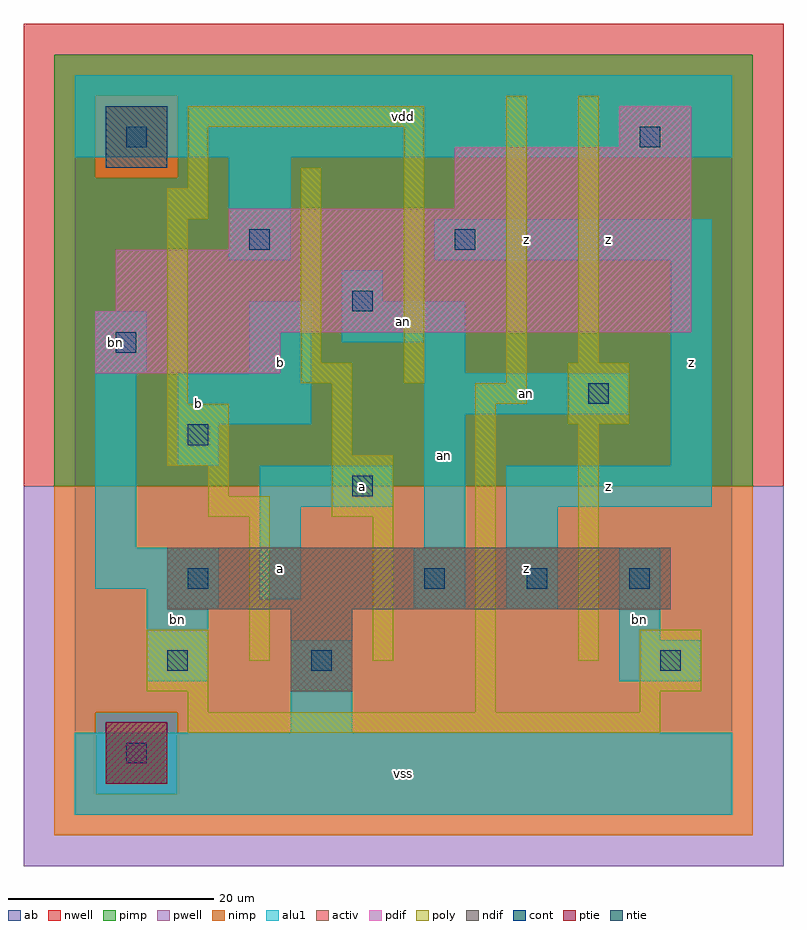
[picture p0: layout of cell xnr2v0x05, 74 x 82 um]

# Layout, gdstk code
import gdstk
lib = gdstk.Library(unit=1e-6, precision=1e-09)
def R(c, l, rs):  # rectangles x0, y0, x1, y1
    for r in rs: c.add(gdstk.rectangle(r[:2], r[2:], *l))
def A(c, l, x, y, w, h, nx, ny, dx, dy):  # array of equal rectangles
    R(c, l, [(x+i*dx, y+j*dy, x+i*dx+w, y+j*dy+h) for i in range(nx) for j in range(ny)])
ndif = (3, 0)
pdif = (4, 0)
ntie = (5, 0)
ptie = (6, 0)
cont = (25, 0)
pwell = (41, 0)
nwell = (42, 0)
activ = (43, 0)
pimp = (44, 0)
nimp = (45, 0)
poly = (46, 0)
alu1 = (49, 0)
ab = (63, 0)

xnr2v0x05 = lib.new_cell('xnr2v0x05')
R(xnr2v0x05, ndif, [(21,12,27,20), (9,20,58,26)])
R(xnr2v0x05, pdif, [(2,43,20,47), (2,47,60,49), (4,49,60,55), (15,55,60,59), (37,59,60,65), (53,65,60,69)])
R(xnr2v0x05, ntie, [(3,63,9,69)])
R(xnr2v0x05, ptie, [(3,3,9,9)])
A(xnr2v0x05, cont, 34, 22, 2, 2, 3, 1, 10, 0)
R(xnr2v0x05, cont, [(5,5,7,7), (9,14,11,16), (23,14,25,16), (57,14,59,16), (11,22,13,24), (27,31,29,33), (11,36,13,38), (50,40,52,42), (4,45,6,47), (27,49,29,51), (17,55,19,57), (37,55,39,57), (5,65,7,67), (55,65,57,67)])
R(xnr2v0x05, pwell, [(-5,-5,69,32)])
R(xnr2v0x05, nwell, [(-5,32,69,77)])
R(xnr2v0x05, activ, [(3,3,9,9), (21,12,27,20), (9,20,58,26), (2,43,20,47), (2,47,60,49), (4,49,60,55), (15,55,60,59), (37,59,60,65), (3,63,9,69), (53,65,60,69)])
R(xnr2v0x05, pimp, [(2,2,10,10), (-2,32,66,62), (-2,62,2,70), (10,62,66,70), (-2,70,66,74)])
R(xnr2v0x05, nimp, [(-2,-2,66,2), (-2,2,2,10), (10,2,66,10), (-2,10,66,32), (2,62,10,70)])
R(xnr2v0x05, poly, [(11,8,57,10), (11,10,13,12), (39,10,41,40), (55,10,57,12), (7,12,13,18), (55,12,61,18), (17,15,19,29), (29,15,31,29), (49,15,51,38), (13,29,19,31), (25,29,31,35), (13,31,15,34), (9,34,15,40), (25,35,27,42), (48,38,54,44), (9,40,11,58), (39,40,44,42), (22,42,27,44), (32,42,34,67), (42,42,44,70), (22,44,24,63), (49,44,51,70), (9,58,13,61), (11,61,13,67), (11,67,34,69)])
R(xnr2v0x05, alu1, [(0,0,64,8), (21,8,27,17), (7,13,13,20), (53,13,61,17), (53,17,57,26), (7,20,14,22), (33,20,38,26), (42,20,47,30), (18,21,22,30), (2,22,14,26), (2,26,6,43), (34,26,38,39), (18,30,31,34), (42,30,62,34), (10,34,14,38), (58,34,62,54), (10,38,23,43), (34,39,54,43), (2,43,7,49), (17,43,23,50), (34,43,38,46), (26,46,38,50), (26,50,30,53), (15,54,21,64), (35,54,62,58), (0,64,64,72)])
R(xnr2v0x05, ab, [(0,0,64,72)])
xnr2v0x05.add(gdstk.Label('bn', (10,19), layer=49, texttype=0))
xnr2v0x05.add(gdstk.Label('bn', (4,46), layer=49, texttype=0))
xnr2v0x05.add(gdstk.Label('an', (36,35), layer=49, texttype=0))
xnr2v0x05.add(gdstk.Label('an', (32,48), layer=49, texttype=0))
xnr2v0x05.add(gdstk.Label('bn', (55,19), layer=49, texttype=0))
xnr2v0x05.add(gdstk.Label('an', (44,41), layer=49, texttype=0))
xnr2v0x05.add(gdstk.Label('b', (12,40), layer=49, texttype=0))
xnr2v0x05.add(gdstk.Label('a', (28,32), layer=49, texttype=0))
xnr2v0x05.add(gdstk.Label('a', (20,24), layer=49, texttype=0))
xnr2v0x05.add(gdstk.Label('b', (20,44), layer=49, texttype=0))
xnr2v0x05.add(gdstk.Label('vss', (32,4), layer=49, texttype=0))
xnr2v0x05.add(gdstk.Label('z', (44,24), layer=49, texttype=0))
xnr2v0x05.add(gdstk.Label('z', (44,56), layer=49, texttype=0))
xnr2v0x05.add(gdstk.Label('vdd', (32,68), layer=49, texttype=0))
xnr2v0x05.add(gdstk.Label('z', (52,32), layer=49, texttype=0))
xnr2v0x05.add(gdstk.Label('z', (60,44), layer=49, texttype=0))
xnr2v0x05.add(gdstk.Label('z', (52,56), layer=49, texttype=0))

lib.write_gds('xnr2v0x05.gds')
